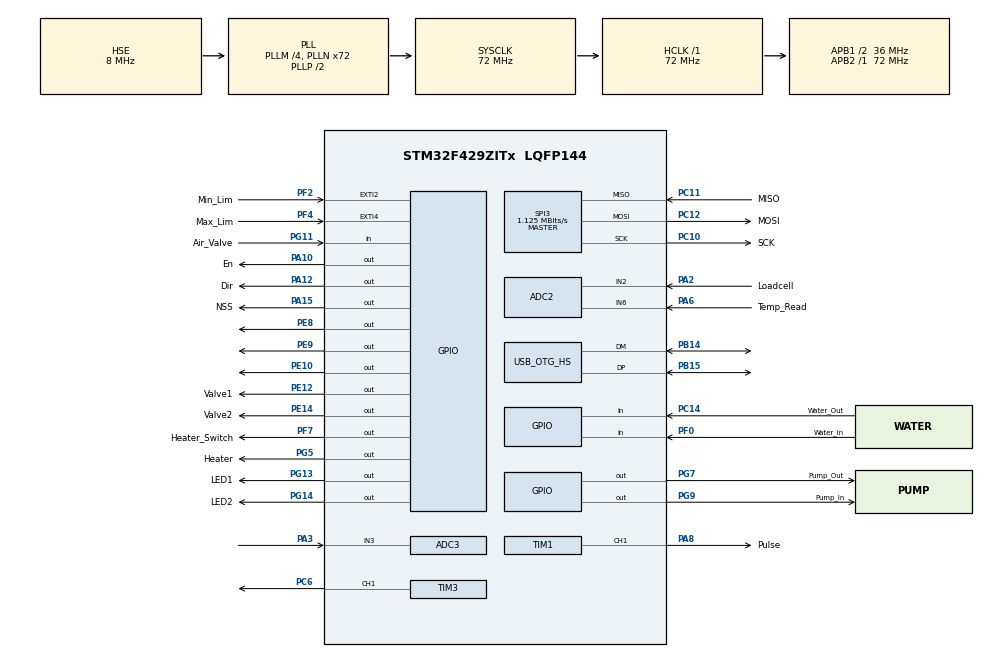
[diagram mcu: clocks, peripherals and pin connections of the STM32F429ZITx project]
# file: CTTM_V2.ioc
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ADC2.Channel-6\#ChannelRegularConversion=ADC_CHANNEL_6
ADC2.ClockPrescaler=ADC_CLOCK_SYNC_PCLK_DIV4
ADC2.ContinuousConvMode=ENABLE
ADC2.DMAContinuousRequests=ENABLE
ADC2.NbrOfConversionFlag=1
ADC2.Rank-6\#ChannelRegularConversion=1
ADC2.SamplingTime-6\#ChannelRegularConversion=ADC_SAMPLETIME_3CYCLES
ADC3.Channel-0\#ChannelRegularConversion=ADC_CHANNEL_3
ADC3.ClockPrescaler=ADC_CLOCK_SYNC_PCLK_DIV4
ADC3.ContinuousConvMode=ENABLE
ADC3.NbrOfConversionFlag=1
ADC3.Rank-0\#ChannelRegularConversion=1
ADC3.SamplingTime-0\#ChannelRegularConversion=ADC_SAMPLETIME_3CYCLES
Dma.ADC2.0.Direction=DMA_PERIPH_TO_MEMORY
Dma.ADC2.0.FIFOMode=DMA_FIFOMODE_DISABLE
Dma.ADC2.0.Instance=DMA2_Stream2
Dma.ADC2.0.MemDataAlignment=DMA_MDATAALIGN_WORD
Dma.ADC2.0.MemInc=DMA_MINC_ENABLE
Dma.ADC2.0.Mode=DMA_NORMAL
Dma.ADC2.0.PeriphDataAlignment=DMA_PDATAALIGN_WORD
Dma.ADC2.0.PeriphInc=DMA_PINC_DISABLE
Dma.ADC2.0.Priority=DMA_PRIORITY_LOW
Dma.Request0=ADC2
FREERTOS.INCLUDE_vTaskCleanUpResources=1
FREERTOS.Queues01=usbData,40,uint8_t,0,Dynamic,NULL,NULL
FREERTOS.Tasks01=StateHandler,55,128,StartStateHandler,Default,NULL,Dynamic,NULL,NULL;Actuations,47,128,StartActuations,Default,NULL,Dynamic,NULL,NULL;TempControl,39,128,StartTempControl,Default,NULL,Dynamic,NULL,NULL
FREERTOS.configENABLE_FPU=1
Mcu.Family=STM32F4
Mcu.Name=STM32F429ZITx
Mcu.Package=LQFP144
NVIC.ADC_IRQn=true\:5\:0\:true\:false\:true\:true\:true\:true\:true
NVIC.DMA2_Stream2_IRQn=true\:5\:0\:false\:false\:true\:true\:false\:true\:true
NVIC.EXTI2_IRQn=true\:5\:0\:false\:false\:true\:true\:true\:true\:true
NVIC.EXTI4_IRQn=true\:5\:0\:false\:false\:true\:true\:true\:true\:true
NVIC.OTG_HS_IRQn=true\:5\:0\:true\:false\:true\:true\:false\:true\:true
NVIC.PriorityGroup=NVIC_PRIORITYGROUP_4
NVIC.TIM1_UP_TIM10_IRQn=true\:5\:0\:false\:false\:true\:true\:true\:true\:true
NVIC.TIM2_IRQn=true\:15\:0\:false\:false\:true\:false\:false\:true\:true
NVIC.TIM3_IRQn=true\:5\:0\:false\:false\:true\:true\:true\:true\:true
NVIC.TIM4_IRQn=true\:5\:0\:true\:false\:true\:true\:true\:true\:true
NVIC.TIM5_IRQn=true\:5\:0\:false\:false\:true\:true\:true\:true\:true
NVIC.TimeBase=TIM2_IRQn
NVIC.TimeBaseIP=TIM2
PA10.GPIO_Label=En
PA10.Signal=GPIO_Output
PA12.GPIO_Label=Dir
PA12.Signal=GPIO_Output
PA13.Mode=Serial_Wire
PA13.Signal=SYS_JTMS-SWDIO
PA14.Mode=Serial_Wire
PA14.Signal=SYS_JTCK-SWCLK
PA15.GPIO_Label=NSS
PA15.Signal=GPIO_Output
PA2.GPIO_Label=Loadcell
PA2.Signal=ADCx_IN2
PA3.Signal=ADCx_IN3
PA6.GPIO_Label=Temp_Read
PA6.Signal=ADCx_IN6
PA8.GPIO_Label=Pulse
PA8.Signal=S_TIM1_CH1
PB14.Mode=Device_Only_FS
PB14.Signal=USB_OTG_HS_DM
PB15.Mode=Device_Only_FS
PB15.Signal=USB_OTG_HS_DP
PC10.GPIO_Label=SCK
PC10.Mode=Full_Duplex_Master
PC10.Signal=SPI3_SCK
PC11.GPIO_Label=MISO
PC11.Mode=Full_Duplex_Master
PC11.Signal=SPI3_MISO
PC12.GPIO_Label=MOSI
PC12.Mode=Full_Duplex_Master
PC12.Signal=SPI3_MOSI
PC14/OSC32_IN.GPIO_Label=Water_Out
PC14/OSC32_IN.GPIO_PuPd=GPIO_PULLUP
PC14/OSC32_IN.Signal=GPIO_Input
PC6.Signal=S_TIM3_CH1
PE10.Signal=GPIO_Output
PE12.GPIO_Label=Valve1
PE12.Signal=GPIO_Output
PE14.GPIO_Label=Valve2
PE14.Signal=GPIO_Output
PE8.Signal=GPIO_Output
PE9.Signal=GPIO_Output
PF0.GPIO_Label=Water_In
PF0.GPIO_PuPd=GPIO_PULLUP
PF0.Signal=GPIO_Input
PF2.GPIO_Label=Min_Lim
PF2.GPIO_ModeDefaultEXTI=GPIO_MODE_IT_FALLING
PF2.GPIO_PuPd=GPIO_PULLUP
PF2.Signal=GPXTI2
PF4.GPIO_Label=Max_Lim
PF4.GPIO_ModeDefaultEXTI=GPIO_MODE_IT_FALLING
PF4.GPIO_PuPd=GPIO_PULLUP
PF4.Signal=GPXTI4
PF7.GPIO_Label=Heater_Switch
PF7.Signal=GPIO_Output
PG11.GPIO_Label=Air_Valve
PG11.Signal=GPIO_Input
PG13.GPIO_Label=LED1
PG13.Signal=GPIO_Output
PG14.GPIO_Label=LED2
PG14.Signal=GPIO_Output
PG5.GPIO_Label=Heater
PG5.Signal=GPIO_Output
PG7.GPIO_Label=Pump_Out
PG7.Signal=GPIO_Output
PG9.GPIO_Label=Pump_In
PG9.Signal=GPIO_Output
PH0/OSC_IN.Mode=HSE-External-Oscillator
PH0/OSC_IN.Signal=RCC_OSC_IN
PH1/OSC_OUT.Mode=HSE-External-Oscillator
PH1/OSC_OUT.Signal=RCC_OSC_OUT
ProjectManager.HeapSize=0x200
ProjectManager.StackSize=0x400
ProjectManager.TargetToolchain=MDK-ARM V5.32
RCC.48MHZClocksFreq_Value=48000000
RCC.AHBFreq_Value=72000000
RCC.APB1CLKDivider=RCC_HCLK_DIV2
RCC.APB1Freq_Value=36000000
RCC.APB1TimFreq_Value=72000000
RCC.APB2Freq_Value=72000000
RCC.APB2TimFreq_Value=72000000
RCC.CortexFreq_Value=72000000
RCC.HCLKFreq_Value=72000000
RCC.HSE_VALUE=8000000
RCC.HSI_VALUE=16000000
RCC.LSE_VALUE=32768
RCC.PLLM=4
RCC.PLLN=72
RCC.PLLQ=3
RCC.PLLSAIN=50
RCC.SYSCLKFreq_VALUE=72000000
RCC.SYSCLKSource=RCC_SYSCLKSOURCE_PLLCLK
RCC.VCOOutputFreq_Value=144000000
SH.ADCx_IN2.0=ADC2_IN2,IN2
SH.ADCx_IN3.0=ADC3_IN3,IN3
SH.ADCx_IN6.0=ADC2_IN6,IN6
SH.S_TIM1_CH1.0=TIM1_CH1,PWM Generation1 CH1
SH.S_TIM3_CH1.0=TIM3_CH1,PWM Generation1 CH1
SPI3.BaudRatePrescaler=SPI_BAUDRATEPRESCALER_32
SPI3.CalculateBaudRate=1.125 MBits/s
SPI3.DataSize=SPI_DATASIZE_8BIT
SPI3.Direction=SPI_DIRECTION_2LINES
SPI3.Mode=SPI_MODE_MASTER
SPI3.VirtualType=VM_MASTER
TIM1.AutoReloadPreload=TIM_AUTORELOAD_PRELOAD_ENABLE
TIM1.Channel-PWM\ Generation1\ CH1=TIM_CHANNEL_1
TIM1.Prescaler=72-1
TIM3.AutoReloadPreload=TIM_AUTORELOAD_PRELOAD_ENABLE
TIM3.Channel-PWM\ Generation1\ CH1=TIM_CHANNEL_1
TIM3.Period=2000-1
TIM3.Prescaler=72-1
TIM4.Period=1098
TIM4.Prescaler=65535
TIM5.AutoReloadPreload=TIM_AUTORELOAD_PRELOAD_ENABLE
TIM5.Prescaler=7200-1
USB_DEVICE.CLASS_NAME_HS=CDC
USB_DEVICE.PRODUCT_STRING_CDC_HS=STM32 Virtual Com
USB_DEVICE.USBD_SELF_POWERED-CDC_HS=1
USB_DEVICE.VirtualMode-CDC_HS=Cdc
USB_DEVICE.VirtualModeHS=Cdc_HS
USB_OTG_HS.VirtualMode-Device_Only_FS=Device_Only_FS
USB_OTG_HS.dma_enable-Device_Only_FS=ENABLE
VP_FREERTOS_VS_CMSIS_V2.Mode=CMSIS_V2
VP_SYS_VS_tim2.Mode=TIM2
VP_TIM1_VS_ClockSourceINT.Mode=Internal
VP_TIM3_VS_ClockSourceINT.Mode=Internal
VP_TIM4_VS_ClockSourceINT.Mode=Internal
VP_TIM5_VS_ClockSourceINT.Mode=Internal
VP_USB_DEVICE_VS_USB_DEVICE_CDC_HS.Mode=CDC_HS
board=STM32F429I-DISC1

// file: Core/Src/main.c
/* USER CODE BEGIN Header */
/**
 ******************************************************************************
 * @file           : main.c
 * @brief          : Main program body
 ******************************************************************************
 * @attention
 *
 * Copyright (c) 2024 STMicroelectronics.
 * All rights reserved.
 *
 * This software is licensed under terms that can be found in the LICENSE file
 * in the root directory of this software component.
 * If no LICENSE file comes with this software, it is provided AS-IS.
 *
 ******************************************************************************
 */
/* USER CODE END Header */
#include "main.h"
#include "cmsis_os.h"
#include "usb_device.h"

/* USER CODE BEGIN Includes */
#include "math.h"
#include "string.h"
#include "stdio.h"
#include "usbd_cdc_if.h"
/* USER CODE END Includes */

/* USER CODE BEGIN PD */

// Configuration parameters

#define STEPS_PER_REV 6400        // Steps per revolution (including microstepping)
#define LEAD_SCREW_PITCH 2        // Lead screw pitch in mm
#define MICROSTEPS 43             // Microstepping factor
#define TIMER_CLOCK_FREQ 72000000 // Timer clock frequency (72 MHz)

// Calculate steps per mm
// #define STEPS_PER_MM (STEPS_PER_REV / LEAD_SCREW_PITCH)

/* USER CODE END PD */

ADC_HandleTypeDef hadc2;
ADC_HandleTypeDef hadc3;
DMA_HandleTypeDef hdma_adc2;

SPI_HandleTypeDef hspi3;

TIM_HandleTypeDef htim1;
TIM_HandleTypeDef htim3;
TIM_HandleTypeDef htim4;
TIM_HandleTypeDef htim5;

/* Definitions for StateHandler */
osThreadId_t StateHandlerHandle;
const osThreadAttr_t StateHandler_attributes = {
    .name = "StateHandler",
    .stack_size = 128 * 4,
    .priority = (osPriority_t)osPriorityRealtime7, // Highest Priority
};

/* Definitions for TempControl */
osThreadId_t TempControlHandle;
const osThreadAttr_t TempControl_attributes = {
    .name = "TempControl",
    .stack_size = 128 * 4,
    .priority = (osPriority_t)osPriorityAboveNormal7, // Medium-High Priority
};

/* Definitions for Actuations */
osThreadId_t ActuationsHandle;
const osThreadAttr_t Actuations_attributes = {
    .name = "Actuations",
    .stack_size = 128 * 4,
    .priority = (osPriority_t)osPriorityNormal7, // Medium Priority
};

/* Definitions for trans_distance */
osThreadId_t trans_distanceHandle;
const osThreadAttr_t trans_distance_attributes = {
    .name = "trans_distance",
    .stack_size = 128 * 4,
    .priority = (osPriority_t)osPriorityBelowNormal7, // Lowest Priority
};

/* Definitions for usbData */
osMessageQueueId_t usbDataHandle;
const osMessageQueueAttr_t usbData_attributes = {
    .name = "usbData"};
/* USER CODE BEGIN PV */
osMessageQueueId_t sendtempHandle;
const osMessageQueueAttr_t sendtemp_attributes = {
    .name = "sendtemp"};
osMessageQueueId_t sendforceHandle;
const osMessageQueueAttr_t sendforce_attributes = {
    .name = "sendforce"};

// osMessageQueueId_t sendlengthHandle;
// const osMessageQueueAttr_t sendlength_attributes = {
//     .name = "sendlength"};
// osMessageQueueId_t sendspeedHandle;
// const osMessageQueueAttr_t sendspeed_attributes = {
//     .name = "sendspeed"};

/* Application States */
typedef enum
{
  sNone,
  sProcess,
  sManual,
  sSaveSettings,
  sHoming,
  sTransmitForce,
} defstate;

/* Application Events */
typedef enum
{
  pNone,
  pFillWater,
  pWaterOff,
  pEmptyWater,
  pTempControlOn,
  pTempControlOff,
  pHoming,
  pmStart,
  pmReverse,
  pmDirVal,
  pStop,
  pPause,
  pReset,
  // pRepeat
} e_defprocess;

typedef enum
{
  uNone,
  uTempControlON,
  uTempControlOFF,
  uMotorStartf,
  uMotorStartb,
  uMotorStop,
  uValveOpen1,
  uValveOpen2,
  uValveClose1,
  uValveClose2
} e_defmanual;

// typedef enum
//{
//  amNone,
//  amStart,
//  amPause,
//  amStop,
//  amDirVal,
//  amReset
// }e_defactuation;

typedef enum
{
  hmNone,
  hmStartpwm,
  hmStopext,
  hmStoptim,
} e_defhoming;

typedef struct
{
  int x;
  e_defprocess xprocess;
  e_defmanual xmanual;
  e_defhoming xhoming;
} event;

// From USB
// volatile uint16_t xdist , xspeed;

//------COM PORT Buffer-----------------------------
volatile uint8_t buff[35];
const char *mfeedback = "*MAN:RES#";
const char *sfeedback = "*PRS:STR#";
const char *pfeedback = "*PRS:PUS#";
const char *rfeedback = "*PRS:HOM#";
const char *nfeedback = "*PRS:RED#";
const char *hfeedback = "*PRS:HET#";
//-------for ADC DMA(FORCE)--------------------------

//-------for user data handling-----------------------
// const char PROCESS[] = "P";
// const char START[] = "1:1";
// const char PAUSE[] = "1:2";
// const char REST[] = "1:3";
// const char LOL[] = "3:5";

// const char MMSRF[] = "MMSRF";
// const char MMSPF[] = "MMSPF";
// const char MMSRB[] = "MMSRB";
// const char MMSPB[] = "MMSPB";
// const char MV1SR[] = "MV1SR";
// const char MV1SP[] = "MV1SP";
// const char MV2SR[] = "MV2SR";
// const char MV2SP[] = "MV2SP";
// const char MHSR[] = "MHSR";
// const char MHSP[] = "MHSP";

//---------for Motor----------------------------------
volatile uint32_t Interrupt_Tim1 = 0;
volatile uint32_t Interrupt_Tim5 = 0;
volatile uint32_t Interrupt_Tim4 = 0;

/* USER CODE END PV */

void SystemClock_Config(void);
static void MX_GPIO_Init(void);
static void MX_DMA_Init(void);
static void MX_ADC2_Init(void);
static void MX_TIM4_Init(void);
static void MX_ADC3_Init(void);
static void MX_TIM1_Init(void);
static void MX_SPI3_Init(void);
static void MX_TIM5_Init(void);
static void MX_TIM3_Init(void);
void StartStateHandler(void *argument);
void StartActuations(void *argument);
void StartTempControl(void *argument);
void trans_distance(void *argument);

/* USER CODE BEGIN PFP */
void stateInit(defstate *const state, event *const e);

// pointer to state functions

// State Machine
void statemachine(defstate *const state, event *const e);
void resetstatemachine(defstate *const state, event *const e);
void saveconditionalstate(defstate const *const state, event const *const e);
void savecurrentstate(defstate const *const state, event const *const e);

// State Finder//no enum assigned, controlled by flags so choose flags wisely
typedef void (*statefinder_t)(defstate *const state, event *const e);

void processEXTinthommin(defstate *const state, event *const e);
void processEXTinthommax(defstate *const state, event *const e);
void processUSBval(defstate *const state, event *const e);
void processTIMintdir(defstate *const state, event *const e);
void processTIMintking(defstate *const state, event *const e);
void processTIMinthom(defstate *const state, event *const e);
void processEXTintWaterIn(defstate *const state, event *const e);
void processEXTintWaterOut(defstate *const state, event *const e);
void processinternalH2P(defstate *const state, event *const e);
void processinternalPh2H(defstate *const state, event *const e);
void processinternalPr2H(defstate *const state, event *const e);
void processinternalW2T(defstate *const state, event *const e);
void processinternalT2H(defstate *const state, event *const e);
void processexternalT2S(defstate *const state, event *const e);
void processexternalF2S(defstate *const state, event *const e);
void processexternalD2S(defstate *const state, event *const e);
void processTIM2SP(defstate *const state, event *const e);
void processinternalPC2R(defstate *const state, event *const e);

statefinder_t statefinder[] = {
    NULL,
    processEXTinthommin,   // 1
    processEXTinthommax,   // 2
    processTIMinthom,      // 3
    processTIMintdir,      // 4
    processTIMintking,     // 5
    processUSBval,         // 6
    processEXTintWaterIn,  // 7
    processEXTintWaterOut, // 8
    processinternalH2P,    // 9
    processinternalPh2H,   // A
    processinternalPr2H,   // B
    processinternalW2T,    // C
    processinternalT2H,    // D
    processexternalT2S,    // E
    processexternalF2S,    // F
    processexternalD2S,    // 10
    processTIM2SP,         // 11
    processinternalPC2R    // 12
};

// statehandler table
typedef void (*fstatehandler_t)(event const *const e);
void Null(event const *const e);
void Process(event const *const e);
void Manual(event const *const e);
void Homing(event const *const e);
void SaveSettings(event const *const e);
void TransmitForce(event const *const e);

fstatehandler_t fstatehandler[] = {
    Null,
    Process,
    Manual,
    SaveSettings,
    Homing,
    TransmitForce};

/*Manual*/
void u_Null(void);
void u_TempControlON(void);
void u_TempControlOFF(void);
void u_MotorStartf(void);
void u_MotorStartb(void);
void u_MotorStop(void);
void u_ValveOpen1(void);
void u_ValveOpen2(void);
void u_ValveClose1(void);
void u_ValveClose2(void);

typedef void (*manualhandler_t)(void);
/*
uNone,
uTempControlON,
uTempControlOFF,
uMotorStartf,
uMotorStartb,
uMotorStop,
uValveOpen1,
uValveOpen2,
uValveClose1,
uValveClose2
*/

manualhandler_t manualhandler[] = {
    NULL,
    u_TempControlON,
    u_TempControlOFF,
    u_MotorStartf,
    u_MotorStartb,
    u_MotorStop,
    u_ValveOpen1,
    u_ValveOpen2,
    u_ValveClose1,
    u_ValveClose2};

/*Process*/
void p_Null(void);
void p_FillWater(void);
void p_WaterOff(void);
void p_EmptyWater(void);
void p_TempControlOn(void);
void p_TempControlOff(void);
void p_Homing(void);
void p_mStart(void);
void p_mReverse(void);
void p_mDirVal(void);
void p_Pause(void);
void p_Stop(void);
void p_Reset(void);
// void p_Repeat(void);

typedef void (*processhandler_t)(void);
/*
pNone,
pFillWater,
pWaterOff,
pEmptyWater,
pTempControlOn,
pTempControlOff,
pHoming,
pmStart,
pmDirVal,
pStop,
pPause,
pReset
*/
processhandler_t processhandler[] = {
    NULL,
    p_FillWater,
    p_WaterOff,
    p_EmptyWater,
    p_TempControlOn,
    p_TempControlOff,
    p_Homing,
    p_mStart,
    p_mReverse,
    p_mDirVal,
    p_Stop,
    p_Pause,
    p_Reset,
    // p_Repeat
};

/*Homing*/
void h_Null(void);
void h_Startpwm(void);
void h_Starttimbase(void);
void h_Stopext(void);
void h_Stoptim(void);

typedef void (*hominghandler_t)(void);
/*
hmNone,
hmStartpwm,
hmStarttimbase,
hmStopext,
hmStoptim,
*/
hominghandler_t hominghandler[] = {
    NULL,
    h_Startpwm,
    h_Stopext,
    h_Stoptim,
};

// Preious State for track
typedef struct
{
  defstate pstate;
  event pe;
} previous_t;

previous_t current;
previous_t conditional;
// USB Value conversion
void TransmitDistance(void);

// TempControl Functions
uint16_t readtemp(void);
void readforce(char *const force, int *const measuredforce);

int CalculateMotionDuration(int length_mm, int speed_mm_sec);

// exexex
uint8_t a, b, c, f, x, y, h, i, z, ab, tempxx, leng, d_usb, d_force, d_temp, temp_check, force_check;
volatile uint8_t stat = 0;
int g, d;
uint32_t m, n, e, interrupt;
int sp, m_force, p_force, r_length;
/* USER CODE END PFP */

/* USER CODE BEGIN 0 */
int set_length, set_speed, set_force;
void UpdateStepperSpeed(int speed_mm_sec);
void UpdateStepperLength(int length_mm, int speed_mm_sec);
int set_length = 0;
int set_interrupts = 0;
int measuredforce = 0;
int return_length, threshold;
;
uint32_t pause_distance;
uint8_t p_mode, ph_mode, cf, Process_State;
uint8_t count, status;
volatile uint8_t f_force, b_force, f_attempt;
uint8_t reverse, d_transmit, mul;
// volatile int t_distance;
int m_forcee, m_forceee, r_covered, dm_force;
int d_covered;

float dd_force, debug_force;
uint8_t abm, check_t;

/* USER CODE END 0 */

int main(void)
{

  /* MCU Configuration--------------------------------------------------------*/

  /* Reset of all peripherals, Initializes the Flash interface and the Systick. */
  HAL_Init();

  /* Configure the system clock */
  SystemClock_Config();

  /* Initialize all configured peripherals */
  MX_GPIO_Init();
  MX_DMA_Init();
  MX_ADC2_Init();
  MX_TIM4_Init();
  MX_ADC3_Init();
  MX_TIM1_Init();
  MX_SPI3_Init();
  MX_TIM5_Init();
  MX_TIM3_Init();
  /* USER CODE BEGIN 2 */
  MX_USB_DEVICE_Init();
  HAL_Delay(500);
  HAL_GPIO_WritePin(Valve2_GPIO_Port, Valve2_Pin, 1);
  HAL_Delay(1500);
  HAL_GPIO_WritePin(Valve2_GPIO_Port, Valve2_Pin, 0);
  // 18/10/24
  /* USER CODE END 2 */

  /* Init scheduler */
  osKernelInitialize();

  /* Create the queue(s) */
  /* creation of usbData */
  usbDataHandle = osMessageQueueNew(40, sizeof(uint8_t), &usbData_attributes);

  /* USER CODE BEGIN RTOS_QUEUES */
  /* add queues, ... */
  sendtempHandle = osMessageQueueNew(1, sizeof(uint8_t), &sendtemp_attributes);
  sendforceHandle = osMessageQueueNew(1, sizeof(uint8_t), &sendforce_attributes);
  /* USER CODE END RTOS_QUEUES */

  /* Create the thread(s) */
  /* creation of StateHandler */
  StateHandlerHandle = osThreadNew(StartStateHandler, NULL, &StateHandler_attributes);

  /* creation of Actuations */
  ActuationsHandle = osThreadNew(StartActuations, NULL, &Actuations_attributes);

  /* creation of TempControl */
  TempControlHandle = osThreadNew(StartTempControl, NULL, &TempControl_attributes);

  /* creation of transmit distance */
  trans_distanceHandle = osThreadNew(trans_distance, NULL, &trans_distance_attributes);

  /* Start scheduler */
  osKernelStart();

  /* We should never get here as control is now taken by the scheduler */

  /* Infinite loop */
  while (1)
  {

  }
}

void SystemClock_Config(void)
{
  RCC_OscInitTypeDef RCC_OscInitStruct = {0};
  RCC_ClkInitTypeDef RCC_ClkInitStruct = {0};

  /** Configure the main internal regulator output voltage
   */
  __HAL_RCC_PWR_CLK_ENABLE();
  __HAL_PWR_VOLTAGESCALING_CONFIG(PWR_REGULATOR_VOLTAGE_SCALE3);

  /** Initializes the RCC Oscillators according to the specified parameters
   * in the RCC_OscInitTypeDef structure.
   */
  RCC_OscInitStruct.OscillatorType = RCC_OSCILLATORTYPE_HSE;
  RCC_OscInitStruct.HSEState = RCC_HSE_ON;
  RCC_OscInitStruct.PLL.PLLState = RCC_PLL_ON;
  RCC_OscInitStruct.PLL.PLLSource = RCC_PLLSOURCE_HSE;
  RCC_OscInitStruct.PLL.PLLM = 4;
  RCC_OscInitStruct.PLL.PLLN = 72;
  RCC_OscInitStruct.PLL.PLLP = RCC_PLLP_DIV2;
  RCC_OscInitStruct.PLL.PLLQ = 3;
  if (HAL_RCC_OscConfig(&RCC_OscInitStruct) != HAL_OK)
  {
    Error_Handler();
  }

  /** Initializes the CPU, AHB and APB buses clocks
   */
  RCC_ClkInitStruct.ClockType = RCC_CLOCKTYPE_HCLK | RCC_CLOCKTYPE_SYSCLK | RCC_CLOCKTYPE_PCLK1 | RCC_CLOCKTYPE_PCLK2;
  RCC_ClkInitStruct.SYSCLKSource = RCC_SYSCLKSOURCE_PLLCLK;
  RCC_ClkInitStruct.AHBCLKDivider = RCC_SYSCLK_DIV1;
  RCC_ClkInitStruct.APB1CLKDivider = RCC_HCLK_DIV2;
  RCC_ClkInitStruct.APB2CLKDivider = RCC_HCLK_DIV1;

  if (HAL_RCC_ClockConfig(&RCC_ClkInitStruct, FLASH_LATENCY_2) != HAL_OK)
  {
    Error_Handler();
  }
}

static void MX_ADC2_Init(void)
{

  ADC_ChannelConfTypeDef sConfig = {0};

  /** Configure the global features of the ADC (Clock, Resolution, Data Alignment and number of conversion)
   */
  hadc2.Instance = ADC2;
  hadc2.Init.ClockPrescaler = ADC_CLOCK_SYNC_PCLK_DIV4;
  hadc2.Init.Resolution = ADC_RESOLUTION_12B;
  hadc2.Init.ScanConvMode = DISABLE;
  hadc2.Init.ContinuousConvMode = ENABLE;
  hadc2.Init.DiscontinuousConvMode = DISABLE;
  hadc2.Init.ExternalTrigConvEdge = ADC_EXTERNALTRIGCONVEDGE_NONE;
  hadc2.Init.ExternalTrigConv = ADC_SOFTWARE_START;
  hadc2.Init.DataAlign = ADC_DATAALIGN_RIGHT;
  hadc2.Init.NbrOfConversion = 1;
  hadc2.Init.DMAContinuousRequests = ENABLE;
  hadc2.Init.EOCSelection = ADC_EOC_SINGLE_CONV;
  if (HAL_ADC_Init(&hadc2) != HAL_OK)
  {
    Error_Handler();
  }

  /** Configure for the selected ADC regular channel its corresponding rank in the sequencer and its sample time.
   */
  sConfig.Channel = ADC_CHANNEL_6;
  sConfig.Rank = 1;
  sConfig.SamplingTime = ADC_SAMPLETIME_3CYCLES;
  if (HAL_ADC_ConfigChannel(&hadc2, &sConfig) != HAL_OK)
  {
    Error_Handler();
  }
}

static void MX_ADC3_Init(void)
{

  ADC_ChannelConfTypeDef sConfig = {0};

  /** Configure the global features of the ADC (Clock, Resolution, Data Alignment and number of conversion)
   */
  hadc3.Instance = ADC3;
  hadc3.Init.ClockPrescaler = ADC_CLOCK_SYNC_PCLK_DIV4;
  hadc3.Init.Resolution = ADC_RESOLUTION_12B;
  hadc3.Init.ScanConvMode = DISABLE;
  hadc3.Init.ContinuousConvMode = ENABLE;
  hadc3.Init.DiscontinuousConvMode = DISABLE;
  hadc3.Init.ExternalTrigConvEdge = ADC_EXTERNALTRIGCONVEDGE_NONE;
  hadc3.Init.ExternalTrigConv = ADC_SOFTWARE_START;
  hadc3.Init.DataAlign = ADC_DATAALIGN_RIGHT;
  hadc3.Init.NbrOfConversion = 1;
  hadc3.Init.DMAContinuousRequests = DISABLE;
  hadc3.Init.EOCSelection = ADC_EOC_SINGLE_CONV;
  if (HAL_ADC_Init(&hadc3) != HAL_OK)
  {
    Error_Handler();
  }

  /** Configure for the selected ADC regular channel its corresponding rank in the sequencer and its sample time.
   */
  sConfig.Channel = ADC_CHANNEL_3;
  sConfig.Rank = 1;
  sConfig.SamplingTime = ADC_SAMPLETIME_3CYCLES;
  if (HAL_ADC_ConfigChannel(&hadc3, &sConfig) != HAL_OK)
  {
    Error_Handler();
  }
}

static void MX_SPI3_Init(void)
{

  /* SPI3 parameter configuration*/
  hspi3.Instance = SPI3;
  hspi3.Init.Mode = SPI_MODE_MASTER;
  hspi3.Init.Direction = SPI_DIRECTION_2LINES;
  hspi3.Init.DataSize = SPI_DATASIZE_8BIT;
  hspi3.Init.CLKPolarity = SPI_POLARITY_LOW;
  hspi3.Init.CLKPhase = SPI_PHASE_1EDGE;
  hspi3.Init.NSS = SPI_NSS_SOFT;
  hspi3.Init.BaudRatePrescaler = SPI_BAUDRATEPRESCALER_32;
  hspi3.Init.FirstBit = SPI_FIRSTBIT_MSB;
  hspi3.Init.TIMode = SPI_TIMODE_DISABLE;
  hspi3.Init.CRCCalculation = SPI_CRCCALCULATION_DISABLE;
  hspi3.Init.CRCPolynomial = 10;
  if (HAL_SPI_Init(&hspi3) != HAL_OK)
  {
    Error_Handler();
  }
}

static void MX_TIM1_Init(void)
{

  TIM_ClockConfigTypeDef sClockSourceConfig = {0};
  TIM_MasterConfigTypeDef sMasterConfig = {0};
  TIM_OC_InitTypeDef sConfigOC = {0};
  TIM_BreakDeadTimeConfigTypeDef sBreakDeadTimeConfig = {0};

  htim1.Instance = TIM1;
  htim1.Init.Prescaler = 72 - 1;
  htim1.Init.CounterMode = TIM_COUNTERMODE_UP;
  htim1.Init.Period = 65535;
  htim1.Init.ClockDivision = TIM_CLOCKDIVISION_DIV1;
  htim1.Init.RepetitionCounter = 0;
  htim1.Init.AutoReloadPreload = TIM_AUTORELOAD_PRELOAD_ENABLE;
  if (HAL_TIM_Base_Init(&htim1) != HAL_OK)
  {
    Error_Handler();
  }
  sClockSourceConfig.ClockSource = TIM_CLOCKSOURCE_INTERNAL;
  if (HAL_TIM_ConfigClockSource(&htim1, &sClockSourceConfig) != HAL_OK)
  {
    Error_Handler();
  }
  if (HAL_TIM_PWM_Init(&htim1) != HAL_OK)
  {
    Error_Handler();
  }
  sMasterConfig.MasterOutputTrigger = TIM_TRGO_RESET;
  sMasterConfig.MasterSlaveMode = TIM_MASTERSLAVEMODE_DISABLE;
  if (HAL_TIMEx_MasterConfigSynchronization(&htim1, &sMasterConfig) != HAL_OK)
  {
    Error_Handler();
  }
  sConfigOC.OCMode = TIM_OCMODE_PWM1;
  sConfigOC.Pulse = 0;
  sConfigOC.OCPolarity = TIM_OCPOLARITY_HIGH;
  sConfigOC.OCNPolarity = TIM_OCNPOLARITY_HIGH;
  sConfigOC.OCFastMode = TIM_OCFAST_DISABLE;
  sConfigOC.OCIdleState = TIM_OCIDLESTATE_RESET;
  sConfigOC.OCNIdleState = TIM_OCNIDLESTATE_RESET;
  if (HAL_TIM_PWM_ConfigChannel(&htim1, &sConfigOC, TIM_CHANNEL_1) != HAL_OK)
  {
    Error_Handler();
  }
  sBreakDeadTimeConfig.OffStateRunMode = TIM_OSSR_DISABLE;
  sBreakDeadTimeConfig.OffStateIDLEMode = TIM_OSSI_DISABLE;
  sBreakDeadTimeConfig.LockLevel = TIM_LOCKLEVEL_OFF;
  sBreakDeadTimeConfig.DeadTime = 0;
  sBreakDeadTimeConfig.BreakState = TIM_BREAK_DISABLE;
  sBreakDeadTimeConfig.BreakPolarity = TIM_BREAKPOLARITY_HIGH;
  sBreakDeadTimeConfig.AutomaticOutput = TIM_AUTOMATICOUTPUT_DISABLE;
  if (HAL_TIMEx_ConfigBreakDeadTime(&htim1, &sBreakDeadTimeConfig) != HAL_OK)
  {
    Error_Handler();
  }
  HAL_TIM_MspPostInit(&htim1);
}

static void MX_TIM3_Init(void)
{

  TIM_ClockConfigTypeDef sClockSourceConfig = {0};
  TIM_MasterConfigTypeDef sMasterConfig = {0};
  TIM_OC_InitTypeDef sConfigOC = {0};

  htim3.Instance = TIM3;
  htim3.Init.Prescaler = 72 - 1;
  htim3.Init.CounterMode = TIM_COUNTERMODE_UP;
  htim3.Init.Period = 2000 - 1;
  htim3.Init.ClockDivision = TIM_CLOCKDIVISION_DIV1;
  htim3.Init.AutoReloadPreload = TIM_AUTORELOAD_PRELOAD_ENABLE;
  if (HAL_TIM_Base_Init(&htim3) != HAL_OK)
  {
    Error_Handler();
  }
  sClockSourceConfig.ClockSource = TIM_CLOCKSOURCE_INTERNAL;
  if (HAL_TIM_ConfigClockSource(&htim3, &sClockSourceConfig) != HAL_OK)
  {
    Error_Handler();
  }
  if (HAL_TIM_PWM_Init(&htim3) != HAL_OK)
  {
    Error_Handler();
  }
  sMasterConfig.MasterOutputTrigger = TIM_TRGO_RESET;
  sMasterConfig.MasterSlaveMode = TIM_MASTERSLAVEMODE_DISABLE;
  if (HAL_TIMEx_MasterConfigSynchronization(&htim3, &sMasterConfig) != HAL_OK)
  {
    Error_Handler();
  }
  sConfigOC.OCMode = TIM_OCMODE_PWM1;
  sConfigOC.Pulse = 0;
  sConfigOC.OCPolarity = TIM_OCPOLARITY_HIGH;
  sConfigOC.OCFastMode = TIM_OCFAST_DISABLE;
  if (HAL_TIM_PWM_ConfigChannel(&htim3, &sConfigOC, TIM_CHANNEL_1) != HAL_OK)
  {
    Error_Handler();
  }
  HAL_TIM_MspPostInit(&htim3);
}

static void MX_TIM4_Init(void)
{

  TIM_ClockConfigTypeDef sClockSourceConfig = {0};
  TIM_MasterConfigTypeDef sMasterConfig = {0};

  htim4.Instance = TIM4;
  htim4.Init.Prescaler = 65535;
  htim4.Init.CounterMode = TIM_COUNTERMODE_UP;
  htim4.Init.Period = 1098;
  htim4.Init.ClockDivision = TIM_CLOCKDIVISION_DIV1;
  htim4.Init.AutoReloadPreload = TIM_AUTORELOAD_PRELOAD_DISABLE;
  if (HAL_TIM_Base_Init(&htim4) != HAL_OK)
  {
    Error_Handler();
  }
  sClockSourceConfig.ClockSource = TIM_CLOCKSOURCE_INTERNAL;
  if (HAL_TIM_ConfigClockSource(&htim4, &sClockSourceConfig) != HAL_OK)
  {
    Error_Handler();
  }
  sMasterConfig.MasterOutputTrigger = TIM_TRGO_RESET;
  sMasterConfig.MasterSlaveMode = TIM_MASTERSLAVEMODE_DISABLE;
  if (HAL_TIMEx_MasterConfigSynchronization(&htim4, &sMasterConfig) != HAL_OK)
  {
    Error_Handler();
  }
}

static void MX_TIM5_Init(void)
{
  TIM_ClockConfigTypeDef sClockSourceConfig = {0};
  TIM_MasterConfigTypeDef sMasterConfig = {0};

  htim5.Instance = TIM5;
  htim5.Init.Prescaler = 72 - 1; // Timer frequency = 10,000 Hz
  htim5.Init.CounterMode = TIM_COUNTERMODE_UP;
  htim5.Init.Period = 65535; // Adjusted period for 1mm per interrupt
  htim5.Init.ClockDivision = TIM_CLOCKDIVISION_DIV1;
  htim5.Init.AutoReloadPreload = TIM_AUTORELOAD_PRELOAD_ENABLE;
  if (HAL_TIM_Base_Init(&htim5) != HAL_OK)
  {
    Error_Handler();
  }
  sClockSourceConfig.ClockSource = TIM_CLOCKSOURCE_INTERNAL;
  if (HAL_TIM_ConfigClockSource(&htim5, &sClockSourceConfig) != HAL_OK)
  {
    Error_Handler();
  }
  sMasterConfig.MasterOutputTrigger = TIM_TRGO_RESET;
  sMasterConfig.MasterSlaveMode = TIM_MASTERSLAVEMODE_DISABLE;
  if (HAL_TIMEx_MasterConfigSynchronization(&htim5, &sMasterConfig) != HAL_OK)
  {
    Error_Handler();
  }
}

static void MX_DMA_Init(void)
{

  /* DMA controller clock enable */
  __HAL_RCC_DMA2_CLK_ENABLE();

  /* DMA interrupt init */
  /* DMA2_Stream2_IRQn interrupt configuration */
  HAL_NVIC_SetPriority(DMA2_Stream2_IRQn, 5, 0);
  HAL_NVIC_EnableIRQ(DMA2_Stream2_IRQn);
}

static void MX_GPIO_Init(void)
{
  GPIO_InitTypeDef GPIO_InitStruct = {0};

  /* GPIO Ports Clock Enable */
  __HAL_RCC_GPIOC_CLK_ENABLE();
  __HAL_RCC_GPIOF_CLK_ENABLE();
  __HAL_RCC_GPIOH_CLK_ENABLE();
  __HAL_RCC_GPIOA_CLK_ENABLE();
  __HAL_RCC_GPIOE_CLK_ENABLE();
  __HAL_RCC_GPIOB_CLK_ENABLE();
  __HAL_RCC_GPIOG_CLK_ENABLE();

  /*Configure GPIO pin Output Level */
  HAL_GPIO_WritePin(Heater_Switch_GPIO_Port, Heater_Switch_Pin, GPIO_PIN_RESET);

  /*Configure GPIO pin Output Level */
  HAL_GPIO_WritePin(GPIOE, GPIO_PIN_8 | GPIO_PIN_9 | GPIO_PIN_10 | Valve1_Pin | Valve2_Pin, GPIO_PIN_RESET);

  /*Configure GPIO pin Output Level */
  HAL_GPIO_WritePin(GPIOG, Heater_Pin | Pump_Out_Pin | Pump_In_Pin | LED1_Pin | LED2_Pin, GPIO_PIN_RESET);

  /*Configure GPIO pin Output Level */
  HAL_GPIO_WritePin(GPIOA, En_Pin | Dir_Pin | NSS_Pin, GPIO_PIN_RESET);

  /*Configure GPIO pin : Water_Out_Pin */
  GPIO_InitStruct.Pin = Water_Out_Pin;
  GPIO_InitStruct.Mode = GPIO_MODE_OUTPUT_PP;
  GPIO_InitStruct.Pull = GPIO_NOPULL;
  GPIO_InitStruct.Speed = GPIO_SPEED_FREQ_LOW;
  HAL_GPIO_Init(Water_Out_GPIO_Port, &GPIO_InitStruct);

  /*Configure GPIO pin : Water_In_Pin */
  GPIO_InitStruct.Pin = Water_In_Pin;
  GPIO_InitStruct.Mode = GPIO_MODE_OUTPUT_PP;
  GPIO_InitStruct.Pull = GPIO_NOPULL;
  GPIO_InitStruct.Speed = GPIO_SPEED_FREQ_LOW;
  HAL_GPIO_Init(Water_In_GPIO_Port, &GPIO_InitStruct);

  /*Configure GPIO pins : Min_Lim_Pin Max_Lim_Pin */
  GPIO_InitStruct.Pin = Min_Lim_Pin | Max_Lim_Pin;
  GPIO_InitStruct.Mode = GPIO_MODE_IT_RISING;
  GPIO_InitStruct.Pull = GPIO_PULLUP;
  HAL_GPIO_Init(GPIOF, &GPIO_InitStruct);

  /*Configure GPIO pin : Heater_Switch_Pin */
  GPIO_InitStruct.Pin = Heater_Switch_Pin;
  GPIO_InitStruct.Mode = GPIO_MODE_OUTPUT_PP;
  GPIO_InitStruct.Pull = GPIO_NOPULL;
  GPIO_InitStruct.Speed = GPIO_SPEED_FREQ_LOW;
  HAL_GPIO_Init(Heater_Switch_GPIO_Port, &GPIO_InitStruct);

  /*Configure GPIO pins : PE8 PE9 PE10 Valve1_Pin
                           Valve2_Pin */
  GPIO_InitStruct.Pin = GPIO_PIN_8 | GPIO_PIN_9 | GPIO_PIN_10 | Valve1_Pin | Valve2_Pin;
  GPIO_InitStruct.Mode = GPIO_MODE_OUTPUT_PP;
  GPIO_InitStruct.Pull = GPIO_NOPULL;
  GPIO_InitStruct.Speed = GPIO_SPEED_FREQ_LOW;
  HAL_GPIO_Init(GPIOE, &GPIO_InitStruct);

  /*Configure GPIO pins : Heater_Pin Pump_Out_Pin Pump_In_Pin LED1_Pin
                           LED2_Pin */
  GPIO_InitStruct.Pin = Heater_Pin | Pump_Out_Pin | Pump_In_Pin | LED1_Pin | LED2_Pin;
  GPIO_InitStruct.Mode = GPIO_MODE_OUTPUT_PP;
  GPIO_InitStruct.Pull = GPIO_NOPULL;
  GPIO_InitStruct.Speed = GPIO_SPEED_FREQ_LOW;
  HAL_GPIO_Init(GPIOG, &GPIO_InitStruct);

  /*Configure GPIO pins : En_Pin Dir_Pin NSS_Pin */
  GPIO_InitStruct.Pin = En_Pin | Dir_Pin | NSS_Pin;
  GPIO_InitStruct.Mode = GPIO_MODE_OUTPUT_PP;
  GPIO_InitStruct.Pull = GPIO_NOPULL;
  GPIO_InitStruct.Speed = GPIO_SPEED_FREQ_LOW;
  HAL_GPIO_Init(GPIOA, &GPIO_InitStruct);

  /*Configure GPIO pin : Air_Valve_Pin */
  GPIO_InitStruct.Pin = Air_Valve_Pin;
  GPIO_InitStruct.Mode = GPIO_MODE_OUTPUT_PP;
  GPIO_InitStruct.Speed = GPIO_SPEED_FREQ_LOW;
  GPIO_InitStruct.Pull = GPIO_NOPULL;
  HAL_GPIO_Init(Air_Valve_GPIO_Port, &GPIO_InitStruct);

  /* EXTI interrupt init*/
  HAL_NVIC_SetPriority(EXTI2_IRQn, 5, 0);
  HAL_NVIC_EnableIRQ(EXTI2_IRQn);

  HAL_NVIC_SetPriority(EXTI4_IRQn, 5, 0);
  HAL_NVIC_EnableIRQ(EXTI4_IRQn);

}

/* USER CODE BEGIN 4 */

void HAL_GPIO_EXTI_Callback(uint16_t GPIO_Pin)
{
  count++;
  interrupt++;
  HAL_GPIO_TogglePin(LED1_GPIO_Port, LED1_Pin);
  if (GPIO_Pin == Max_Lim_Pin)
  {
    GPIO_PinState pinState = HAL_GPIO_ReadPin(Dir_GPIO_Port, Dir_Pin);
    status = 1;

    // Check if the pin is already low
    if (pinState == GPIO_PIN_RESET)
    {
      stat = 2;
      osThreadFlagsSet(StateHandlerHandle, 0x00000002);
      HAL_GPIO_WritePin(Dir_GPIO_Port, Dir_Pin, 1);
    }
  }
  else if (GPIO_Pin == Min_Lim_Pin)
  {
    status = 2;
    GPIO_PinState pinState = HAL_GPIO_ReadPin(Dir_GPIO_Port, Dir_Pin);

    // Check if the pin is already high
    if (pinState == GPIO_PIN_SET)
    {
      HAL_GPIO_WritePin(Dir_GPIO_Port, Dir_Pin, 0);
      stat = 1;
      osThreadFlagsSet(StateHandlerHandle, 0x00000001);
    }
  }
}

// State Init
void stateInit(defstate *const state, event *const e)
{
  *state = sHoming;
  e->xhoming = hmStartpwm;
}

// State Machine
void statemachine(defstate *const state, event *const e)
{
  uint32_t flags = 0;
  flags = osThreadFlagsWait(0x7FFF, osFlagsWaitAny, 0);
  if (flags >= 0x00000001 && flags < 0x00080000) // Replace MAX_STATEFINDER_INDEX with the actual max index of statefinder
  {
    a = flags;
    statefinder[flags](state, e);
    savecurrentstate(state, e);
  }
  // }
  osThreadFlagsClear(flags);
  saveconditionalstate(state, e);

  fstatehandler[*state](e);

  resetstatemachine(state, e);
}

// Reset State
void resetstatemachine(defstate *const state, event *const e)
{
  *state = NULL;
  e->xprocess = pNone;
  e->xhoming = hmNone;
  e->xmanual = uNone;
}
// Save previous state
void savecurrentstate(defstate const *const state, event const *const e)
{
  current.pstate = *state;
  current.pe = *e;
}

void saveconditionalstate(defstate const *const state, event const *const e)
{
  if (*state == sProcess)
  {
    conditional.pe = *e;
    conditional.pstate = *state;
  }
  else if (*state == sManual)
  { //{NULL, pNone, uNone, amNone, hmNone};
    conditional.pe.xhoming = hmNone;
    conditional.pe.xprocess = pNone;
    conditional.pe.xmanual = uNone;
    conditional.pstate = NULL;
  }
}
// covert values recieved from usb to usable number
void convertvalues(void) // only distance and speed
{
}
/*State Finder from EXT,USB,TIM*/
void processUSBval(defstate *const state, event *const e)
{
  char task;
  char ev;
  int permission, process;
  char operation[10];
  char direction[10];
  volatile int speed, dist, temp, force;
  uint8_t xtemp, xforce, xspeed, xdist;

  if (buff[1] == '1' || buff[1] == '2')
  {
    sscanf((char *)buff, "*%c:%c:%d:%d:%d:%d#", &task, &ev, &speed, &dist, &temp, &force);
    xtemp = temp;
    xforce = force;
    set_force = force;
    set_length = dist;
    set_speed = speed;

    // Put target temperature and force values in message queues
    osMessageQueuePut(sendtempHandle, &xtemp, NULL, 0);
    osMessageQueuePut(sendforceHandle, &xforce, NULL, 0);
  }

  /*=================PROCESS========================*/

  if (buff[1] == '3' && buff[3] == '5')
  {
    // osMessageQueuePut(sendtempHandle, &xtemp, NULL, 0);
  }
  if (buff[1] == '1' && buff[3] == '1')
  {
    int temp = readtemp(); // Read the current temperature
    if (temp < xtemp)
    {
      ab++;
      // Send heating notification
      taskENTER_CRITICAL();
      CDC_Transmit_HS((uint8_t *)hfeedback, strlen(hfeedback));
      taskEXIT_CRITICAL();

      while (temp < xtemp)
      {
        HAL_GPIO_WritePin(Heater_GPIO_Port, Heater_Pin, GPIO_PIN_SET);
        osDelay(1000);
        temp = readtemp();
      }
      HAL_GPIO_WritePin(Heater_GPIO_Port, Heater_Pin, GPIO_PIN_RESET);
    }

    taskENTER_CRITICAL();
    CDC_Transmit_HS((uint8_t *)sfeedback, strlen(sfeedback));
    taskEXIT_CRITICAL();
    p_mode = 1;
    ph_mode = 1;
    *state = sProcess;
    e->xprocess = pmStart;
  }
  else if (buff[1] == '1' && buff[3] == '3')
  {
    *state = sProcess;
    e->xprocess = pReset;
  }
  else if (buff[1] == '1' && buff[3] == '2')
  {
    *state = sProcess;
    e->xprocess = pPause;
    taskENTER_CRITICAL();
    CDC_Transmit_HS((uint8_t *)pfeedback, strlen(pfeedback)); // feedback
    taskEXIT_CRITICAL();
  }

  /*=================MANUAL========================*/

  else if (buff[1] == '2' && buff[3] == '4' && buff[5] == '1' && buff[7] == '1') // 2411
  {
    *state = sManual;
    e->xmanual = uMotorStartf;
  }
  else if (buff[1] == '2' && buff[3] == '4' && buff[5] == '2' && buff[7] == '1') // 2421
  {
    *state = sManual;
    e->xmanual = uMotorStop;
  }
  else if (buff[1] == '2' && buff[3] == '4' && buff[5] == '1' && buff[7] == '2') // 2412
  {
    *state = sManual;
    e->xmanual = uMotorStartb;
  }
  else if (buff[1] == '2' && buff[3] == '4' && buff[5] == '2' && buff[7] == '2') // 2422
  {
    *state = sManual;
    e->xmanual = uMotorStop;
  }
  else if (buff[1] == '2' && buff[3] == '5' && buff[5] == '1') // 251
  {
    *state = sManual;
    e->xmanual = uValveOpen1;
  }
  else if (buff[1] == '2' && buff[3] == '5' && buff[5] == '2') // 252
  {
    *state = sManual;
    e->xmanual = uValveClose1;
  }
  else if (buff[1] == '2' && buff[3] == '6' && buff[5] == '1') // 261
  {
    *state = sManual;
    e->xmanual = uValveOpen2;
  }
  else if (buff[1] == '2' && buff[3] == '6' && buff[5] == '2') // 262
  {
    *state = sManual;
    e->xmanual = uValveClose2;
  }
  else if (buff[1] == '2' && buff[3] == '7' && buff[5] == '1') // 271
  {
    *state = sManual;
    e->xmanual = uTempControlON;
  }
  else if (buff[1] == '2' && buff[3] == '7' && buff[5] == '2') // 272
  {
    *state = sManual;
    e->xmanual = uTempControlOFF;
  }

  /*=================MANUAL-FEEDBACK========================*/
  if (*state == sManual)
  {
    if (e->xmanual != 0)
    {
      taskENTER_CRITICAL();
      CDC_Transmit_HS((uint8_t *)mfeedback, strlen(mfeedback));
      taskEXIT_CRITICAL();
    }
  }
}

void processEXTinthommin(defstate *const state, event *const e)
{
  *state = sHoming;
  e->xhoming = hmStopext;
}
void processEXTinthommax(defstate *const state, event *const e)
{
  *state = sHoming;
  e->xhoming = hmStopext;
}
void processTIMinthom(defstate *const state, event *const e)
{
  *state = sHoming;
  e->xhoming = hmStoptim;
}
void processTIMintdir(defstate *const state, event *const e)
{
  *state = sProcess;
  e->xprocess = pmDirVal;
}
void processTIMintking(defstate *const state, event *const e)
{
  *state = sProcess;
  e->xprocess = pStop;
}
void processEXTintWaterIn(defstate *const state, event *const e)
{

  *state = sProcess;
  e->xprocess = pWaterOff;
}
void processEXTintWaterOut(defstate *const state, event *const e)
{
  *state = sProcess;
  e->xprocess = pWaterOff;
}
void processinternalH2P(defstate *const state, event *const e)
{
  *state = sProcess;
  e->xprocess = pmStart;
}
void processinternalPh2H(defstate *const state, event *const e)
{
  *state = sHoming;
  e->xhoming = hmStartpwm;
}
void processinternalPr2H(defstate *const state, event *const e)
{
  *state = sHoming;
  e->xhoming = hmStartpwm;
}
void processinternalW2T(defstate *const state, event *const e)
{
  *state = sProcess;
  e->xprocess = pTempControlOn;
}
void processinternalT2H(defstate *const state, event *const e)
{
  *state = sHoming;
  e->xhoming = hmStartpwm;
}
void processexternalT2S(defstate *const state, event *const e)
{
  *state = sProcess;
  e->xprocess = pTempControlOff;
}
void processexternalF2S(defstate *const state, event *const e) // if Force is reached
{
  *state = sProcess;
  e->xprocess = pStop;
}
void processexternalD2S(defstate *const state, event *const e) // if Distance is reached
{
  *state = sProcess;
  e->xprocess = pStop;
}
void processTIM2SP(defstate *const state, event *const e)
{
  stat = 0x11;
  *state = sProcess;
  e->xprocess = pmStart;
}
void processinternalPC2R(defstate *const state, event *const e)
{
  stat = 0x12;
  *state = sProcess;
  e->xprocess = pmReverse;
}
/*State Handlers*/
void Null(event const *const e)
{
}
void Process(event const *const e)
{
  processhandler[e->xprocess]();
}
void Manual(event const *const e)
{
  manualhandler[e->xmanual]();
}
void Homing(event const *const e)
{
  hominghandler[e->xhoming]();
}
void SaveSettings(event const *const e)
{
}
void TransmitForce(event const *const e)
{
}
void TransmitDistance(void)
{
  char dist[25];
  static int prev_d_transmit = -1; // Track previous mode

  // Reset counters on mode change
  if (prev_d_transmit != d_transmit)
  {
    Interrupt_Tim5 = 0;
    f_attempt = 0;
    prev_d_transmit = d_transmit;
  }

  if (d_transmit == 1)
  {
    if (f_attempt == 0)
    {
      d_covered = (Interrupt_Tim5 / 1000) + 1;
    }
    else if (f_attempt % 2 == 0)
    {
      int mul = (f_attempt / 2) * 10;
      // Prevent underflow
      int timer_val = Interrupt_Tim5 / 1000;
      d_covered = (timer_val > mul) ? (timer_val - mul + 1) : 1;
    }
    snprintf(dist, sizeof(dist), "*DIS:%d#", d_covered);
  }
  else if (d_transmit == 0)
  {
    int calculated;
    if (f_attempt == 0)
    {
      calculated = (Interrupt_Tim5 / 1000);
      r_covered = d_covered - calculated;
    }
    else if (f_attempt % 2 == 0)
    {
      int mul = (f_attempt / 2) * 10;
      int timer_val = Interrupt_Tim5 / 1000;
      calculated = (timer_val > mul) ? (timer_val - mul) : 0;
      r_covered = d_covered - calculated;
    }
    snprintf(dist, sizeof(dist), "*DIS:%d#", (r_covered > 0) ? r_covered - 1 : 0);
  }

  taskENTER_CRITICAL();
  CDC_Transmit_HS((uint8_t *)dist, strlen(dist));
  taskEXIT_CRITICAL();
}
/* Event Handlers*/
void u_TempControlON(void)
{
  HAL_GPIO_WritePin(Heater_GPIO_Port, Heater_Pin, 1); // Turn off heater
}
void u_TempControlOFF(void)
{
  HAL_GPIO_WritePin(Heater_GPIO_Port, Heater_Pin, 0); // Turn off heater
}
void u_MotorStartf(void)
{
  HAL_GPIO_WritePin(Dir_GPIO_Port, Dir_Pin, 1);
  HAL_GPIO_WritePin(En_GPIO_Port, En_Pin, 1);
  __HAL_TIM_SetCounter(&htim1, 0);
  __HAL_TIM_SET_AUTORELOAD(&htim1, 600 - 1);
  __HAL_TIM_SET_COMPARE(&htim1, TIM_CHANNEL_1, 200);
  HAL_TIM_PWM_Start(&htim1, TIM_CHANNEL_1);
}
void u_MotorStartb(void)
{
  HAL_GPIO_WritePin(Dir_GPIO_Port, Dir_Pin, 0);
  HAL_GPIO_WritePin(En_GPIO_Port, En_Pin, 1);
  __HAL_TIM_SetCounter(&htim1, 0);
  __HAL_TIM_SET_AUTORELOAD(&htim1, 600 - 1);
  __HAL_TIM_SET_COMPARE(&htim1, TIM_CHANNEL_1, 200);
  HAL_TIM_PWM_Start(&htim1, TIM_CHANNEL_1);
}
void u_MotorStop(void)
{
  HAL_TIM_PWM_Stop(&htim1, TIM_CHANNEL_1);
}
void u_ValveOpen1(void)
{
  HAL_GPIO_WritePin(Air_Valve_GPIO_Port, Air_Valve_Pin, 0);
}
void u_ValveOpen2(void)
{
  HAL_GPIO_WritePin(Valve2_GPIO_Port, Valve2_Pin, 1);
}
void u_ValveClose1(void)
{
  HAL_GPIO_WritePin(Air_Valve_GPIO_Port, Air_Valve_Pin, 1);
}
void u_ValveClose2(void)
{
  HAL_GPIO_WritePin(Valve2_GPIO_Port, Valve2_Pin, 0);
}

/*Process*/
void p_FillWater(void)
{
}
void p_WaterOff(void)
{
}
void p_EmptyWater(void)
{
}
void p_TempControlOn(void)
{

  HAL_GPIO_WritePin(Heater_GPIO_Port, Heater_Pin, 1);
  HAL_GPIO_WritePin(GPIOG, GPIO_PIN_14, 1);
  osThreadFlagsSet(TempControlHandle, 0x01);
}
void p_TempControlOff(void)
{
  HAL_GPIO_WritePin(Heater_GPIO_Port, Heater_Pin, 0);
  stat = 0x11;
  osThreadFlagsSet(StateHandlerHandle, 0x00000011);
}
void p_Homing(void)
{
  // 10
  stat = 10;
  osThreadFlagsSet(StateHandlerHandle, 0x0000000A); // same as homing (implemet a method to call homing)
}

void p_Pause(void)
{
  HAL_TIM_PWM_Stop(&htim1, TIM_CHANNEL_1);
  HAL_TIM_Base_Stop_IT(&htim1);
  HAL_TIM_Base_Stop_IT(&htim4);
  HAL_TIM_Base_Stop_IT(&htim5);
  HAL_GPIO_WritePin(Pump_In_GPIO_Port, Pump_In_Pin, 0);
  HAL_GPIO_WritePin(Pump_Out_GPIO_Port, Pump_Out_Pin, 0);
}
void p_Stop(void)
{

  Process_State++;

  HAL_TIM_PWM_Stop(&htim1, TIM_CHANNEL_1);
  HAL_TIM_Base_Stop_IT(&htim1);
  HAL_TIM_Base_Stop_IT(&htim4);
  HAL_TIM_Base_Stop_IT(&htim5);
  Interrupt_Tim1 = 0;
  Interrupt_Tim5 = 0;
  HAL_GPIO_WritePin(Heater_GPIO_Port, Heater_Pin, 0); // Turn off heater
  HAL_GPIO_WritePin(Air_Valve_GPIO_Port, Air_Valve_Pin, 0);
  osDelay(1500);
  if (Process_State == 1 && d_force == 0)
  {
    d_usb = 1;
    osThreadFlagsSet(StateHandlerHandle, 0x00000012);
  }
  else
  {
    d_usb = 2;
    p_mode = 0;
    ph_mode = 0;
    osThreadFlagsSet(StateHandlerHandle, 0x000000A);
  }
}
void p_Reset(void)
{
  // 11
  stat = 11;
  HAL_GPIO_WritePin(Air_Valve_GPIO_Port, Air_Valve_Pin, 0);
  osThreadFlagsSet(StateHandlerHandle, 0x0000000B); // same as homing (implemet a method to call homing)
  osThreadFlagsSet(ActuationsHandle, 0x00000001);
  HAL_TIM_PWM_Stop(&htim1, TIM_CHANNEL_1);
  HAL_TIM_Base_Stop_IT(&htim1);
  HAL_TIM_Base_Stop_IT(&htim5);
  p_mode = 0;
  ph_mode = 0;
  Interrupt_Tim1 = 0;
  Interrupt_Tim5 = 0;
}

void p_mStart(void)
{
  osThreadFlagsSet(TempControlHandle, 0x01);
  if (conditional.pe.xprocess == pmStart) // conditions are for stop pause start process...
  {
    HAL_GPIO_WritePin(Air_Valve_GPIO_Port, Air_Valve_Pin, 0);
    HAL_GPIO_WritePin(Dir_GPIO_Port, Dir_Pin, 0);
    HAL_GPIO_WritePin(En_GPIO_Port, En_Pin, 1);
    __HAL_TIM_SetCounter(&htim1, 0);
    UpdateStepperSpeed(set_speed);
    HAL_TIM_PWM_Start(&htim1, TIM_CHANNEL_1);
    Process_State = 0;
    reverse = 0;
    d_transmit = 1;
    HAL_TIM_Base_Start_IT(&htim1);
    HAL_TIM_Base_Start_IT(&htim5);
  }
  else if (conditional.pe.xprocess == pNone)
  {
    HAL_GPIO_WritePin(En_GPIO_Port, En_Pin, 1);
    __HAL_TIM_SetCounter(&htim1, 0);
    __HAL_TIM_SET_AUTORELOAD(&htim1, 1000 - 1);
    __HAL_TIM_SET_COMPARE(&htim1, TIM_CHANNEL_1, 200);
    HAL_TIM_PWM_Start(&htim1, TIM_CHANNEL_1);
    HAL_TIM_Base_Start_IT(&htim1);
    HAL_TIM_Base_Start_IT(&htim5);
  }
}
void p_mReverse(void)
{
  HAL_GPIO_WritePin(Air_Valve_GPIO_Port, Air_Valve_Pin, 0);
  HAL_GPIO_WritePin(Dir_GPIO_Port, Dir_Pin, 1);
  HAL_GPIO_WritePin(En_GPIO_Port, En_Pin, 1);
  f_attempt = 0;
  d_transmit = 0;
  __HAL_TIM_SetCounter(&htim1, 0);
  UpdateStepperSpeed(set_speed);
  HAL_TIM_PWM_Start(&htim1, TIM_CHANNEL_1);
  HAL_TIM_Base_Start_IT(&htim1);
  HAL_TIM_Base_Start_IT(&htim5);
}
void p_mDirVal(void)
{
  Interrupt_Tim1 = 0;
  f_attempt++;
  HAL_GPIO_TogglePin(Dir_GPIO_Port, Dir_Pin);
  HAL_GPIO_TogglePin(Air_Valve_GPIO_Port, Air_Valve_Pin);
}

/*Homing*/
void h_Startpwm(void)
{
  taskENTER_CRITICAL();
  CDC_Transmit_HS((uint8_t *)rfeedback, strlen(rfeedback));
  taskEXIT_CRITICAL();
  force_check = 0;
  temp_check = 0;
  f_attempt = 0;
  d_covered = 0;
  r_covered = 0;
  HAL_GPIO_WritePin(Heater_GPIO_Port, Heater_Pin, 0);
  HAL_GPIO_WritePin(Air_Valve_GPIO_Port, Air_Valve_Pin, 1);
  HAL_GPIO_WritePin(Dir_GPIO_Port, Dir_Pin, 1);
  HAL_GPIO_WritePin(En_GPIO_Port, En_Pin, 1);
  d_force = 0;
  __HAL_TIM_SetCounter(&htim1, 0);
  __HAL_TIM_SET_AUTORELOAD(&htim1, 500 - 1);
  __HAL_TIM_SET_COMPARE(&htim1, TIM_CHANNEL_1, 100);
  HAL_TIM_PWM_Start(&htim1, TIM_CHANNEL_1);
}

void h_Stopext(void)
{
  Interrupt_Tim1 = 0;
  HAL_TIM_Base_Start_IT(&htim1);
}

void h_Stoptim(void)
{
  HAL_GPIO_WritePin(En_GPIO_Port, En_Pin, 0);
  HAL_TIM_Base_Stop_IT(&htim1);
  HAL_TIM_PWM_Stop(&htim1, TIM_CHANNEL_1);
  Interrupt_Tim1 = 0;
  Interrupt_Tim5 = 0;
  taskENTER_CRITICAL();
  CDC_Transmit_HS((uint8_t *)nfeedback, strlen(nfeedback));
  taskEXIT_CRITICAL();

  if (conditional.pe.xprocess == pHoming)
  {
    // 9
    stat = 9;
    osThreadFlagsSet(StateHandlerHandle, 0x00000009); // to read and learn from this this..(this to is notify that homing was done during process)
  }
}

void UpdateStepperSpeed(int speed_mm_sec)
{

  const int STEPS_PER_MM = (STEPS_PER_REV * MICROSTEPS) / LEAD_SCREW_PITCH;
  int steps_per_sec = STEPS_PER_MM * speed_mm_sec; // For 1mm/sec, this will be STEPS_PER_MM
  uint32_t timer_period = (TIMER_CLOCK_FREQ / steps_per_sec) - 1;
  if (timer_period > 0xFFFF)
  {
    timer_period = 0xFFFF; // Limit the period to 16-bit max value
  }

  __HAL_TIM_SET_AUTORELOAD(&htim1, timer_period);
  __HAL_TIM_SET_COMPARE(&htim1, TIM_CHANNEL_1, timer_period / 2);

  __HAL_TIM_SET_AUTORELOAD(&htim5, timer_period);
  __HAL_TIM_SET_COMPARE(&htim5, TIM_CHANNEL_1, timer_period / 2); // 50% duty cycle
}

/*Temp Read*/
uint16_t readtemp(void)
{
  uint8_t rxData[2]; // Buffer to receive 16 bits of data
  uint16_t tempData;

  // Assert CS low to select MAX6675
  HAL_GPIO_WritePin(NSS_GPIO_Port, NSS_Pin, 0);

  // Send dummy byte to read temperature data
  HAL_SPI_Receive(&hspi3, rxData, 2, HAL_MAX_DELAY);

  // Deassert CS high to deselect MAX6675
  HAL_GPIO_WritePin(NSS_GPIO_Port, NSS_Pin, 1);

  // Combine received bytes into 16-bit temperature data
  tempData = (rxData[0] << 8) | rxData[1];

  // Extract temperature value (12-bit data)
  tempData = (tempData >> 3); // Convert to Celsius
  return tempData * 0.25;
  // Return the temperature value
}

/*Force Read*/
void readforce(char *const force, int *const measuredforce)
{
  uint16_t readings[100];
  float sum = 0.0;
  float measured_force = 0;

  for (uint8_t i = 0; i < 100; i++)
  {
    HAL_ADC_Start(&hadc2);
    HAL_ADC_PollForConversion(&hadc2, portMAX_DELAY);
    readings[i] = HAL_ADC_GetValue(&hadc2);
    sum += readings[i];
  }

  float average = sum / 100;
  dd_force = average;
  measured_force = average * (5 / 4095.0) * 718.84628047;

  measured_force = (2120 - 807.05) - measured_force;
  debug_force = measured_force;
  if (measured_force <= -80 || measured_force >= 20)
  {
    g = measured_force > 0 ? measured_force - 20 : measured_force + 70;
  }
  else
  {
    g = 0;
  }

  *measuredforce = measured_force * 1000; // Convert to appropriate units (force in mN)
  m = *measuredforce;
  snprintf(force, 16, "*FRC:%d#", g);
}

/* USER CODE END 4 */

void StartStateHandler(void *argument)
{
  /* init code for USB_DEVICE */
  MX_USB_DEVICE_Init();
  /* USER CODE BEGIN 5 */
  defstate state = NULL;
  event e = {NULL, pNone, uNone, hmNone}; // Initialize all to None

  stateInit(&state, &e);
  buff[1] = '2';
  /* Infinite loop */
  for (;;)
  {

    statemachine(&state, &e);

    osDelay(1);
  }
  /* USER CODE END 5 */
}

void StartActuations(void *argument)
{
  /* USER CODE BEGIN StartActuations */
  char force[15];

  uint8_t standardforce = 1;
  int flags = 0;
  uint8_t forceFlag = 0;
  uint8_t returningFlag = 0;

  /* Infinite loop */
  for (;;)
  {
    if (standardforce == 1)
    {
      b = 1;
      osMessageQueueGet(sendforceHandle, &standardforce, NULL, portMAX_DELAY);
    }

    flags = osThreadFlagsWait(0x00000001, osFlagsWaitAny, 0);
    d = standardforce;

    if (flags != 0x00000001)
    {
      readforce(force, &measuredforce);
      taskENTER_CRITICAL();
      CDC_Transmit_HS((uint8_t *)force, strlen(force)); // Send the force value over USB
      taskEXIT_CRITICAL();
      m_forcee = measuredforce;
      measuredforce = measuredforce / 100000;
      m_forceee = measuredforce;
      if (ph_mode == 1)
      {
        if (measuredforce >= set_force) // Check if measured force meets or exceeds the standard force
        {
          force_check = 2;
          d_force++;
          osThreadFlagsSet(StateHandlerHandle, 0x00000005);
        }
        else
        {
          force_check = 1;
        }
      }
      else
      {
        forceFlag = 0;
        // m_force = 1;
      }
      //}

      osDelay(100); // Small delay before next reading
    }
  }
  /* USER CODE END StartActuations */
}

void StartTempControl(void *argument)
{
  int temperature;
  char temp[15];
  uint8_t standardtemp = 5;
  const int HYSTERESIS = 2; // Degrees Celsius hysteresis to prevent rapid cycling

  for (;;)
  {
    osMessageQueueGet(sendtempHandle, &standardtemp, NULL, osWaitForever);

    while (1)
    {
      temperature = readtemp();
      snprintf(temp, sizeof(temp), "*TEP:%d#", temperature);

      taskENTER_CRITICAL();
      CDC_Transmit_HS((uint8_t *)temp, strlen(temp));
      taskEXIT_CRITICAL();

      if (p_mode == 1)
      {
        // Turn heater on if below (setpoint - hysteresis), off if above (setpoint + hysteresis)
        if (temperature < standardtemp)
        {
          HAL_GPIO_WritePin(Heater_GPIO_Port, Heater_Pin, GPIO_PIN_SET);
        }
        else if (temperature >= standardtemp)
        {
          HAL_GPIO_WritePin(Heater_GPIO_Port, Heater_Pin, GPIO_PIN_RESET);
        }
      }

      // Check for updated setpoint non-blocking
      osMessageQueueGet(sendtempHandle, &standardtemp, NULL, 0);

      osDelay(500); // Reduce delay to 500ms for faster response
    }
  }
}
void trans_distance(void *argument)
{
  while (1)
  {
    check_t++;
    TransmitDistance();
    osDelay(100);
  }
}

void HAL_TIM_PeriodElapsedCallback(TIM_HandleTypeDef *htim)
{
  if (htim->Instance == TIM1)
  {
    Interrupt_Tim1++;
    if (current.pstate != sProcess) // global variable to get condition
    {
      if (Interrupt_Tim1 == 15000)
      {
        // 3
        stat = 3;
        osThreadFlagsSet(StateHandlerHandle, 0x00000003);
      }
    }
    else if (current.pstate == sProcess)
    {

      if (Interrupt_Tim1 == 10000) // for changing motor direction during process
      {
        stat = 4;
        osThreadFlagsSet(StateHandlerHandle, 0x00000004);
      }
    }
    else if (Process_State == 1)
    {
      int remainder = threshold % 10000;
      remainder = (remainder == 0) ? 10000 : remainder;

      int target;
      if (Interrupt_Tim1 == 0)
      {
        target = remainder;
      }
      else
      {
        target = 10000;
      }

      if (Interrupt_Tim1 == target)
      {
        stat = 4;
        osThreadFlagsSet(StateHandlerHandle, 0x00000004);
        Interrupt_Tim1 = 0;
      }
    }
  }

  else if (htim->Instance == TIM5)
  {
    Interrupt_Tim5++;

    int last_digit = set_length % 10;
    if (last_digit == 0)
    {
      threshold = (set_length * 2000) - 10000;
    }
    else
    {
      threshold = (set_length * 2000) - (last_digit * 1000);
    }

    if (Interrupt_Tim5 >= threshold)
    {
      stat = 5;
      osThreadFlagsSet(StateHandlerHandle, 0x00000005);
    }
  }
}
/* USER CODE END Callback 1 */

void Error_Handler(void)
{
  __disable_irq();
  while (1)
  {
  }
}
